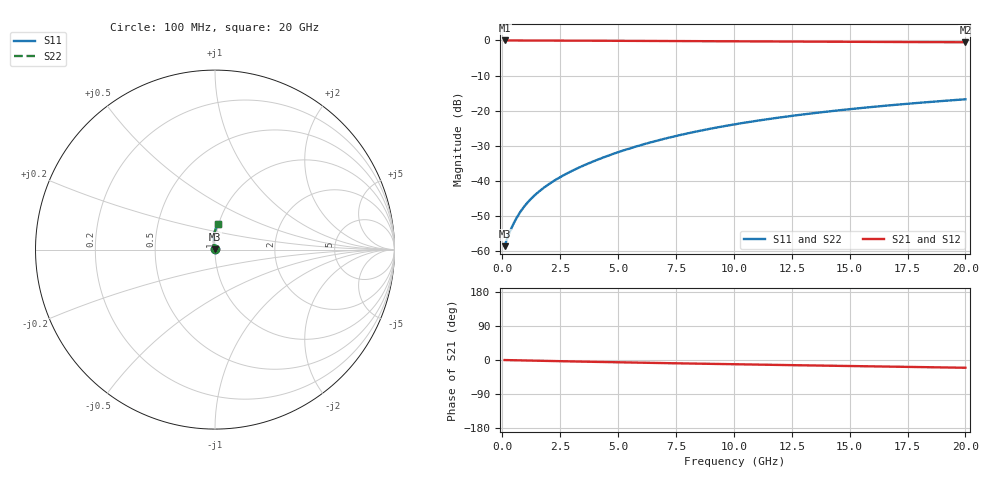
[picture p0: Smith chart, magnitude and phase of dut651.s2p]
! Touchstone file exported from HFSS 2024.1.0
!  File:  C:/UserFiles/LocalFiles/RDL_TSV_Batchsim/temp_RDL_top_651_1779781343.aedt
!  Generated:  03:44:28 PM May 26, 2026
!  Design:  RDL_top
!  Project:  temp_RDL_top_651_1779781343
!  Setup:  Setup1
!  Solution:  Sweep
! Variables:
!  dtsv = 10.80580581um
!  hbump = 3um
!  htsv = 72.65um
!  ldown = 100um
!  lrdl = 326.59um
!  p = 40
!  p1 = 44.64um
!  rhole = 1um
!  t = 450um
!  tdown = 3.915915916um
!  trdl = 4.83um
!  wdown = 15.38538539um
!  wrdl = 29.21um
# GHz S MA R 50.000000
! Terminal data exported
! Port[1] = Box2_T1
! Port[2] = Box2_T2
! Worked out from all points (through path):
!   200 points, 100 MHz to 20 GHz, reference 50 ohm
!   highest |S21| = -0.01 dB at 100 MHz (marker M1); lowest = -0.5 dB at 20 GHz (marker M2)
!   group delay of S21, straight-line fit = 2.79 ps
!   lowest |S11| = -58.5 dB at 100 MHz (marker M3), VSWR 1.00, Z = 50.1 + j0.0584 ohm
!   |S11| at or under -10 dB: start of sweep to end of sweep
!   |S22| runs from -58.5 to -16.7 dB; largest |S21 - S12| = 3e-15
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0.1  0.001188 29.4  0.999 -0.1  0.999 -0.1  0.001188 29.4
! Gamma 0 0 0 0
! Port Impedance 50 0 50 0
0.2  0.001495 41.9  0.9988 -0.3  0.9988 -0.3  0.001496 41.9
0.3  0.001811 51.4  0.9987 -0.4  0.9987 -0.4  0.001811 51.4
0.4  0.002159 58.5  0.9986 -0.5  0.9986 -0.5  0.002159 58.5
0.6  0.002922 68.0  0.9984 -0.8  0.9984 -0.8  0.002922 68.0
0.7  0.003323 71.3  0.9983 -0.9  0.9983 -0.9  0.003323 71.3
0.9  0.00415 76.1  0.9981 -1.2  0.9981 -1.2  0.00415 76.1
1.2  0.005428 80.9  0.9977 -1.5  0.9977 -1.5  0.005428 80.9
1.6  0.007183 85.3  0.997 -2.0  0.997 -2.0  0.007183 85.3
2.1  0.009466 89.1  0.996 -2.7  0.996 -2.7  0.009466 89.1
2.7  0.01237 92.6  0.9945 -3.4  0.9945 -3.4  0.01237 92.6
3.5  0.01661 95.9  0.9921 -4.3  0.9921 -4.3  0.01661 95.9
4.2  0.02068 97.9  0.9897 -5.2  0.9897 -5.2  0.02068 97.9
5  0.02574 99.2  0.9868 -6.1  0.9868 -6.1  0.02573 99.2
5.9  0.03189 99.9  0.9835 -7.0  0.9835 -7.0  0.03189 99.9
6.8  0.03845 99.9  0.9801 -8.0  0.9801 -8.0  0.03845 99.9
8.4  0.05085 98.8  0.9743 -9.6  0.9743 -9.6  0.05084 98.8
10.1  0.06465 96.9  0.9686 -11.3  0.9686 -11.3  0.06464 96.9
11.7  0.07791 94.7  0.9636 -12.8  0.9636 -12.8  0.0779 94.7
13.4  0.09206 92.2  0.9587 -14.4  0.9587 -14.4  0.09204 92.2
16.7  0.1192 87.4  0.9501 -17.5  0.9501 -17.5  0.1192 87.4
20  0.1456 82.9  0.9422 -20.5  0.9422 -20.5  0.1456 82.9
